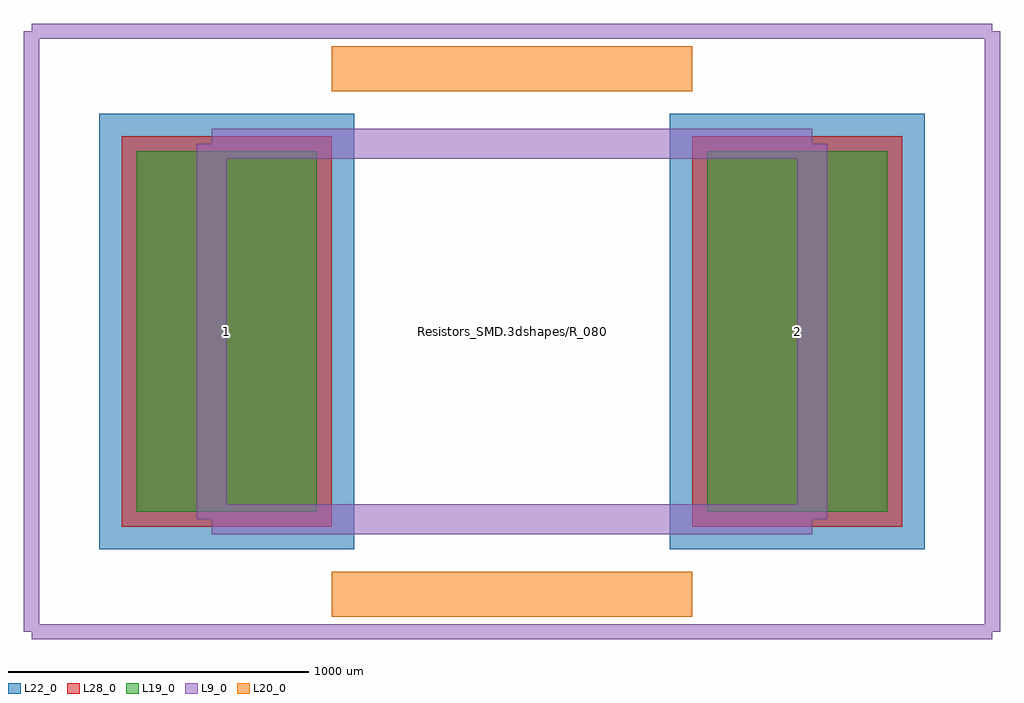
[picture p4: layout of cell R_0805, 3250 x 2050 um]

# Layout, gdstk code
import gdstk
lib = gdstk.Library(unit=1e-6, precision=1e-09)
def R(c, l, rs):  # rectangles x0, y0, x1, y1
    for r in rs: c.add(gdstk.rectangle(r[:2], r[2:], *l))
L9_0 = (9, 0)
L19_0 = (19, 0)
L20_0 = (20, 0)
L22_0 = (22, 0)
L28_0 = (28, 0)

r_0805 = lib.new_cell('R_0805')
R(r_0805, L19_0, [(-1250,-600,-650,600), (650,-600,1250,600)])
R(r_0805, L22_0, [(-1375,-725,-525,725), (525,-725,1375,725)])
R(r_0805, L28_0, [(-1300,-650,-600,650), (600,-650,1300,650)])
r_0805.add(gdstk.FlexPath([(-600,875),(600,875)], 149.998, ends="flush", simple_path=True, layer=20, datatype=0))  # L20_0
r_0805.add(gdstk.FlexPath([(600,-875),(-600,-875)], 149.998, ends="flush", simple_path=True, layer=20, datatype=0))  # L20_0
r_0805.add(gdstk.FlexPath([(1600,1000),(1600,-1000)], 50, ends="flush", simple_path=True, layer=9, datatype=0))  # L9_0
r_0805.add(gdstk.FlexPath([(-1600,1000),(-1600,-1000)], 50, ends="flush", simple_path=True, layer=9, datatype=0))  # L9_0
r_0805.add(gdstk.FlexPath([(-1600,-1000),(1600,-1000)], 50, ends="flush", simple_path=True, layer=9, datatype=0))  # L9_0
r_0805.add(gdstk.FlexPath([(-1600,1000),(1600,1000)], 50, ends="flush", simple_path=True, layer=9, datatype=0))  # L9_0
r_0805.add(gdstk.FlexPath([(-1000,625),(1000,625)], 100, ends="flush", simple_path=True, layer=9, datatype=0))  # L9_0
r_0805.add(gdstk.FlexPath([(1000,625),(1000,-625)], 100, ends="flush", simple_path=True, layer=9, datatype=0))  # L9_0
r_0805.add(gdstk.FlexPath([(1000,-625),(-1000,-625)], 100, ends="flush", simple_path=True, layer=9, datatype=0))  # L9_0
r_0805.add(gdstk.FlexPath([(-1000,-625),(-1000,625)], 100, ends="flush", simple_path=True, layer=9, datatype=0))  # L9_0
r_0805.add(gdstk.Label('Resistors_SMD.3dshapes/R_0805.wrl', (0,0), layer=12, texttype=0))
r_0805.add(gdstk.Label('2', (950,0), layer=28, texttype=0))
r_0805.add(gdstk.Label('1', (-950,0), layer=28, texttype=0))
r_0805.add(gdstk.Label('type', (0,-2100), layer=9, texttype=0))
r_0805.add(gdstk.Label('devicename', (0,2100), layer=9, texttype=0))

lib.write_gds('R_0805.gds')
